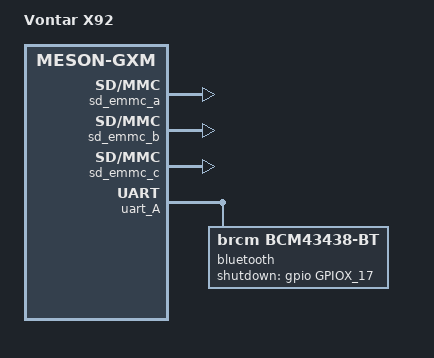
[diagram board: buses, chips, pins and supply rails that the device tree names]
// SPDX-License-Identifier: (GPL-2.0+ OR MIT)
/*
 * Copyright (c) 2017 BayLibre, SAS.
 * Author: Neil Armstrong <narmstrong@baylibre.com>
 * Copyright (c) 2017 Oleg <balbes-150@yandex.ru>
 * Copyright (c) flippy
 */

/dts-v1/;

#include "meson-gxm-vega-s96.dts"

/ {
	compatible = "vontar,x92", "amlogic,s912", "amlogic,meson-gxm";
	model = "Vontar X92";

	openvfd {
		compatible = "open,vfd";
		dev_name = "openvfd";
		status = "okay";
	};
};

&ethmac {
	snps,aal;
	snps,txpbl = <0x8>;
	snps,rxpbl = <0x8>;
};

&sd_emmc_a {
        status = "okay";
};

&sd_emmc_b {
        status = "okay";
};

&sd_emmc_c {
        status = "okay";
};

&uart_A {
	status = "okay";
	pinctrl-0 = <&uart_a_pins>, <&uart_a_cts_rts_pins>;
	pinctrl-names = "default";
	uart-has-rtscts;

	bluetooth {
		compatible = "brcm,bcm43438-bt";
		shutdown-gpios = <&gpio GPIOX_17 GPIO_ACTIVE_HIGH>;
		max-speed = <2000000>;
		clocks = <&wifi32k>;
		clock-names = "lpo";
	};
};
